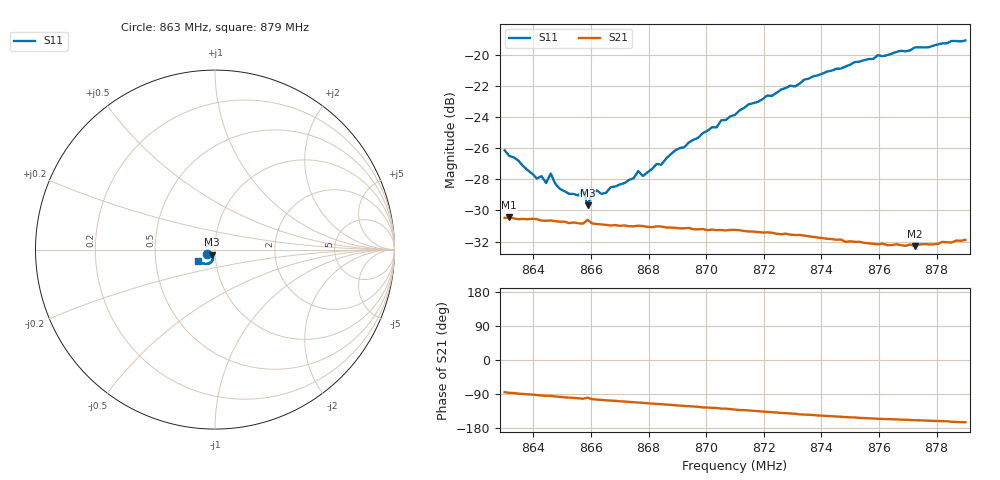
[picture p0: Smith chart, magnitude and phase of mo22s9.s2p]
# HZ S RI R 50
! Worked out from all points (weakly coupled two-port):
!   101 points, 863 MHz to 879 MHz, reference 50 ohm
!   highest |S21| = -30.45 dB at 863.16 MHz (marker M1); lowest = -32.3 dB at 877.24 MHz (marker M2)
!   lowest |S11| = -29.7 dB at 865.88 MHz (marker M3), VSWR 1.07, Z = 48.2 - j2.64 ohm
!   |S11| at or under -10 dB: start of sweep to end of sweep
!   S12 and S22 are empty: the file has one direction only
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8.63e8  -0.0428 -0.0246  0.00257 -0.0298  0 0  0 0
8.6316e8  -0.0403 -0.0249  0.00178 -0.03  0 0  0 0
8.6444e8  -0.0307 -0.0236  -0.00224 -0.0292  0 0  0 0
8.646e8  -0.0308 -0.0279  -0.00229 -0.0293  0 0  0 0
8.6492e8  -0.0273 -0.0251  -0.00366 -0.0289  0 0  0 0
8.6524e8  -0.0242 -0.0263  -0.00461 -0.0284  0 0  0 0
8.6556e8  -0.0227 -0.0271  -0.00553 -0.0282  0 0  0 0
8.6572e8  -0.0218 -0.0298  -0.00606 -0.028  0 0  0 0
8.6588e8  -0.0181 -0.0274  -0.00484 -0.0291  0 0  0 0
8.6604e8  -0.0196 -0.0299  -0.0067 -0.0279  0 0  0 0
8.662e8  -0.0203 -0.0306  -0.00712 -0.0277  0 0  0 0
8.6652e8  -0.0168 -0.0318  -0.00797 -0.0273  0 0  0 0
8.6748e8  -0.0128 -0.038  -0.0103 -0.0261  0 0  0 0
8.6764e8  -0.0146 -0.0397  -0.0107 -0.0261  0 0  0 0
8.678e8  -0.0119 -0.039  -0.011 -0.0259  0 0  0 0
8.6844e8  -0.0105 -0.0431  -0.0126 -0.0251  0 0  0 0
8.6892e8  -0.0116 -0.0479  -0.0137 -0.0242  0 0  0 0
8.71e8  -0.0162 -0.062  -0.0179 -0.0207  0 0  0 0
8.7372e8  -0.0346 -0.0779  -0.0214 -0.0148  0 0  0 0
8.7644e8  -0.0643 -0.0775  -0.0224 -0.00979  0 0  0 0
8.7724e8  -0.0746 -0.0746  -0.0227 -0.00873  0 0  0 0
8.79e8  -0.0922 -0.0619  -0.0245 -0.00692  0 0  0 0
